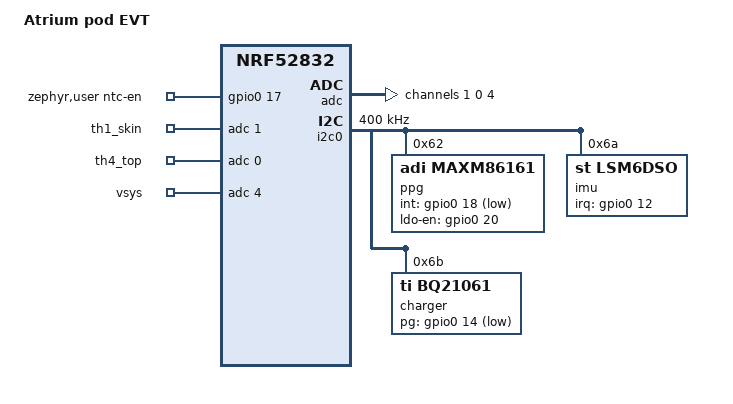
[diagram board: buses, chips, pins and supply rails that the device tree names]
/*
 * Copyright (c) 2026 Het Bhavsar
 * SPDX-License-Identifier: Apache-2.0
 *
 * Atrium pod EVT, baseline 20.9 x 11 x 5.3 mm (approved 2026-11-07). Every nRF pin
 * below is a net in hardware/design-data/netlist/atrium_nets.yaml of the baseline; tests/check_pins.py
 * checks them.
 *
 * Power: cell -> AP6683 protection -> BQ21061 (power path: VSYS = PMID, 4.5 V on the Plinth,
 * about VBAT on the cell). TPS7A0218 makes VDD 1.8 V from VSYS for the nRF and the MAXM86161;
 * a second TPS7A0218 (U13, no enable pin) powers the IMU. MAXM86161A VLED = VSYS.
 * The nRF52832 regulator runs in DC/DC mode. No 32.768 kHz crystal: calibrated LFRC.
 * No LED, no buttons, no UART, no external flash. SWD on the flex contact pads.
 */

/dts-v1/;
#include <nordic/nrf52832_ciaa.dtsi>
#include <zephyr/dt-bindings/adc/adc.h>
#include <zephyr/dt-bindings/adc/nrf-saadc.h>
#include <zephyr/dt-bindings/regulator/nrf5x.h>
#include <zephyr/dt-bindings/sensor/lsm6dso.h>
#include "atrium_pod-pinctrl.dtsi"

/ {
	model = "Atrium pod EVT";
	compatible = "atrium,atrium-pod";

	chosen {
		zephyr,sram = &sram0;
		zephyr,flash = &flash0;
		zephyr,code-partition = &slot0_partition;
	};

	aliases {
		watchdog0 = &wdt0;
		ppg0 = &ppg;
		imu0 = &imu;
		charger0 = &charger;
	};

	/* Thermal and supply sensing, used by src/hw/power_hw.c */
	zephyr,user {
		io-channels = <&adc 1>, <&adc 0>, <&adc 4>;
		io-channel-names = "th1_skin", "th4_top", "vsys";
		/* NTC_EN P0.17 -> R10 / R11 10 kOhm 0.1 % -> TH1 / TH4 (NCP03XH103) to GND */
		ntc-en-gpios = <&gpio0 17 GPIO_ACTIVE_HIGH>;

		/* Cell and supply facts, read by src/main.c:
		 * - cell: Sharvi 400909, 30 mAh, AP6683 protection;
		 * - cut-off 3.30 V loaded on VSYS, off the Plinth;
		 * - green needs about 3.1 V on VLED (= VSYS) at the 31 mA range [VERIFY]: the
		 *   MAXM86161A green LED is 3.4 V max at 175 mA, 0.4 V under the MAXM86161's
		 *   3.8 V at 150 mA, so the old 3.5 V estimate drops by the same 0.4 V. With the
		 *   2.0 ohm sag the limit (3.13 V) sits under the 3.30 V cut-off: green runs to
		 *   the end of the charge. Measure on the bench (O-16);
		 * - cell resistance 2.0 ohm, end of life and cold [ASSUMED], set from the bench;
		 * - VSYS_SENSE = VSYS x R41 / (R40 + R41), 2.2 MOhm / 1 MOhm. */
		cell-capacity-mah = <30>;
		cutoff-mv = <3300>;
		green-min-mv = <3100>;
		cell-resistance-mohm = <2000>;
		vsys-sense-top-ohm = <2200000>;
		vsys-sense-bottom-ohm = <1000000>;

		/* LSM6DSOX (U11) axes to the pod frame: pod = M x chip, rows pod x, y, z.
		 * Pod frame (mechanical, worn vertically): +x along the long axis to the antenna
		 * end (up when worn), +z out of the top face (away from the head), +y = z x x.
		 * U11 on the top side, EasyEDA rot 270, pin 1 at the pod +x/+y corner, pins 1-4
		 * along the +y edge toward -x (PCB session, 2026-11-07). ST DS12814 figure 4 puts
		 * pin 1 at the chip's -X/+Y corner, pins 1-4 down the -X edge toward -Y (top view).
		 * So chip +Y = pod +x, chip +X = pod -y, Z = z [VERIFY by the bring-up gravity test,
		 * the pod resting on each of its six faces]. A layout change edits this one line. */
		imu-to-pod = <0 1 0  (-1) 0 0  0 0 1>;
	};
};

&reg {
	regulator-initial-mode = <NRF5X_REG_MODE_DCDC>;
};

/* P0.21 -> TP1: pin reset for the bench */
&uicr {
	gpio-as-nreset;
};

&gpiote {
	status = "okay";
};

&gpio0 {
	status = "okay";
	/* CHG_PG P0.14 edges by SENSE: the case's VIN patterns (src/power/vinpat.h) without a
	 * GPIOTE IN channel running in idle [VERIFY idle current on the bench] */
	sense-edge-mask = <(1 << 14)>;
};

&adc {
	#address-cells = <1>;
	#size-cells = <0>;
	status = "okay";

	/* TH1_SENSE P0.03/AIN1, skin side. 10 kOhm on top, NTC to GND. Ratiometric:
	 * gain 1/4 with the VDD/4 reference = VDD full scale, the rail NTC_EN drives. */
	channel@1 {
		reg = <1>;
		zephyr,gain = "ADC_GAIN_1_4";
		zephyr,reference = "ADC_REF_VDD_1_4";
		zephyr,acquisition-time = <ADC_ACQ_TIME(ADC_ACQ_TIME_MICROSECONDS, 10)>;
		zephyr,input-positive = <NRF_SAADC_AIN1>;
		zephyr,resolution = <12>;
		zephyr,oversampling = <4>;
	};

	/* TH4_SENSE P0.02/AIN0 (was P0.30/AIN6 to 2026-11-08), top side, on the radio island next
	 * to the nRF. Same divider, gain and reference as TH1. */
	channel@0 {
		reg = <0>;
		zephyr,gain = "ADC_GAIN_1_4";
		zephyr,reference = "ADC_REF_VDD_1_4";
		zephyr,acquisition-time = <ADC_ACQ_TIME(ADC_ACQ_TIME_MICROSECONDS, 10)>;
		zephyr,input-positive = <NRF_SAADC_AIN0>;
		zephyr,resolution = <12>;
		zephyr,oversampling = <4>;
	};

	/* VSYS_SENSE P0.28/AIN4: VSYS / 3.2, 1.41 V at 4.5 V. Internal 0.6 V reference at
	 * gain 1/3 = 1.8 V full scale. 688 kOhm source: 40 us, plus the 100 nF hold cap C12. */
	channel@4 {
		reg = <4>;
		zephyr,gain = "ADC_GAIN_1_3";
		zephyr,reference = "ADC_REF_INTERNAL";
		zephyr,acquisition-time = <ADC_ACQ_TIME(ADC_ACQ_TIME_MICROSECONDS, 40)>;
		zephyr,input-positive = <NRF_SAADC_AIN4>;
		zephyr,resolution = <12>;
	};
};

&i2c0 {
	compatible = "nordic,nrf-twim";
	status = "okay";
	clock-frequency = <I2C_BITRATE_FAST>;
	pinctrl-0 = <&i2c0_default>;
	pinctrl-1 = <&i2c0_sleep>;
	pinctrl-names = "default", "sleep";

	/* U3 MAXM86161A optical module, radio island (MAXM86161 register map) */
	ppg: maxm86161@62 {
		compatible = "adi,maxm86161";
		reg = <0x62>;
		/* PPG_INT P0.18 <- INTB, open drain, no pull-up on the board */
		int-gpios = <&gpio0 18 (GPIO_ACTIVE_LOW | GPIO_PULL_UP)>;
		/* PPG_LDO_EN P0.20 -> LDO_EN, R5 1 MOhm pull-down */
		ldo-en-gpios = <&gpio0 20 GPIO_ACTIVE_HIGH>;
	};

	/* U11 LSM6DSOX (LSM6DSO register set), power island. INT2 not connected. */
	imu: lsm6dsox@6a {
		compatible = "st,lsm6dso";
		reg = <0x6a>;
		/* IMU_INT1 P0.12, push-pull, no pull: INT1 must be low or floating at IMU power-up */
		irq-gpios = <&gpio0 12 GPIO_ACTIVE_HIGH>;
		int-pin = <1>;
		/* accelerometer only; the modes set its rate */
		accel-odr = <LSM6DSO_DT_ODR_OFF>;
		/* XL_HM_MODE = 1: low-power at 12.5 Hz, normal at 104 Hz (DS12814 6.2). Power-up
		 * high-performance is 170 uA at any rate; low-power is 26 uA at 50 Hz, with 1.8 mg RMS
		 * noise at +-2 g against 70 ug/sqrt(Hz) (Table 3, Table 2). Not ultra-low-power: 5.5 mg */
		accel-pm = <LSM6DSO_DT_XL_LP_NORMAL_MODE>;
		gyro-odr = <LSM6DSO_DT_ODR_OFF>;
	};

	/* U10 BQ21061, power island. /LP low: I2C only while on the Plinth. */
	charger: bq21061@6b {
		compatible = "ti,bq21061";
		reg = <0x6b>;
		/* CHG_PG P0.14 <- /PG, open drain, R3 100 kOhm pull-up. Low on the Plinth. */
		pg-gpios = <&gpio0 14 GPIO_ACTIVE_LOW>;
		/* 0.5C on the 30 mAh cell */
		constant-charge-current-max-microamp = <15000>;
		/* 5 mA, under 0.2C (6 mA) */
		cold-charge-current-microamp = <5000>;
	};
};

/*
 * 512 KB internal flash: MCUboot 32 KB | slot0 220 KB | slot1 220 KB | settings and bonds
 * 8 KB | log 32 KB (8 pages, src/logstore.c). MCUboot with ECDSA P-256 and swap-move is
 * 26.4 KB (src/sysbuild/mcuboot.conf).
 */
&flash0 {
	partitions {
		compatible = "fixed-partitions";
		#address-cells = <1>;
		#size-cells = <1>;

		boot_partition: partition@0 {
			label = "mcuboot";
			reg = <0x00000000 0x00008000>;
		};
		slot0_partition: partition@8000 {
			label = "image-0";
			reg = <0x00008000 0x00037000>;
		};
		slot1_partition: partition@3f000 {
			label = "image-1";
			reg = <0x0003f000 0x00037000>;
		};
		storage_partition: partition@76000 {
			label = "storage";
			reg = <0x00076000 0x00002000>;
		};
		log_partition: partition@78000 {
			label = "log";
			reg = <0x00078000 0x00008000>;
		};
	};
};
